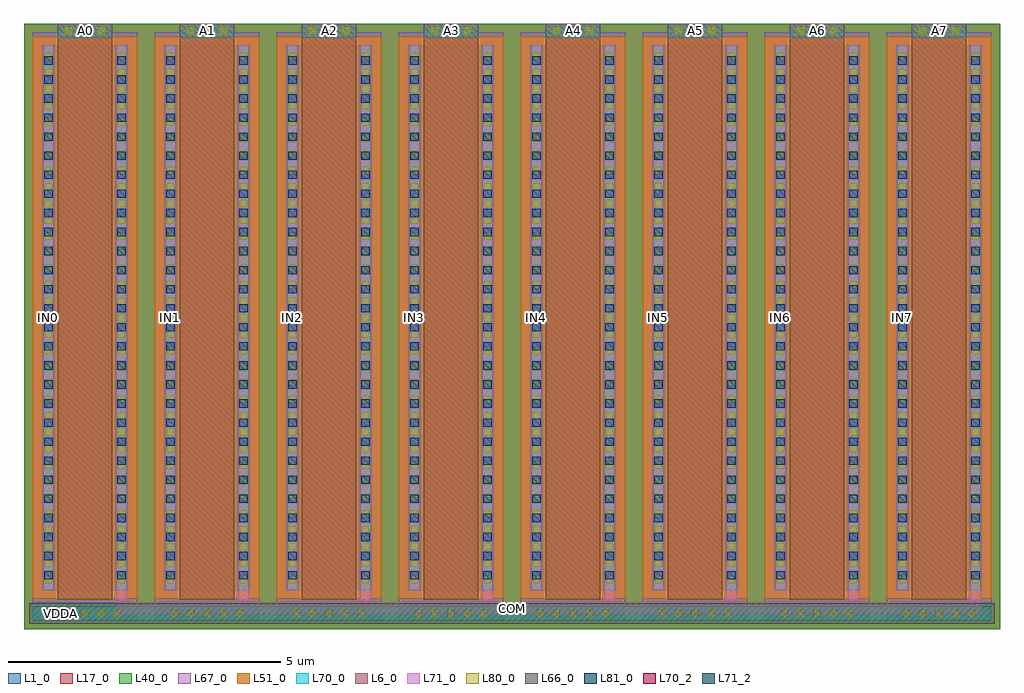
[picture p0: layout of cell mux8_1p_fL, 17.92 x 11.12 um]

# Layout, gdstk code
import gdstk
lib = gdstk.Library(unit=1e-6, precision=1e-09)
def R(c, l, rs):  # rectangles x0, y0, x1, y1
    for r in rs: c.add(gdstk.rectangle(r[:2], r[2:], *l))
def A(c, l, x, y, w, h, nx, ny, dx, dy):  # array of equal rectangles
    R(c, l, [(x+i*dx, y+j*dy, x+i*dx+w, y+j*dy+h) for i in range(nx) for j in range(ny)])
L1_0 = (1, 0)
L6_0 = (6, 0)
L17_0 = (17, 0)
L40_0 = (40, 0)
L51_0 = (51, 0)
L66_0 = (66, 0)
L67_0 = (67, 0)
L70_0 = (70, 0)
L70_2 = (70, 2)
L71_0 = (71, 0)
L71_2 = (71, 2)
L80_0 = (80, 0)
L81_0 = (81, 0)

contact_cdns_78239765426 = lib.new_cell('Contact_CDNS_782397654261')
R(contact_cdns_78239765426, L1_0, [(0,-0.13,0.15,9.87)])
R(contact_cdns_78239765426, L70_0, [(0,-0.13,0.15,9.87)])
A(contact_cdns_78239765426, L80_0, 0.005, 0, 0.14, 0.14, 1, 33, 0, 0.3)

c_contact_cdns_78239765426 = lib.new_cell('Contact_CDNS_782397654262')
R(c_contact_cdns_78239765426, L70_0, [(0,-0.14,0.21,9.86)])
R(c_contact_cdns_78239765426, L71_0, [(0.005,-0.14,0.205,9.86)])
A(c_contact_cdns_78239765426, L81_0, 0.03, 0.06, 0.15, 0.15, 1, 28, 0, 0.35)

c_contact_cdns_78239765426_ = lib.new_cell('Contact_CDNS_782397654263')
R(c_contact_cdns_78239765426_, L6_0, [(-0.07,0,0.93,0.26)])
R(c_contact_cdns_78239765426_, L70_0, [(-0.07,0,0.93,0.26)])
A(c_contact_cdns_78239765426_, L80_0, 0.06, 0.06, 0.14, 0.14, 3, 1, 0.3, 0)

abutcontact_cdns_7823976 = lib.new_cell('AbutContact_CDNS_782397654264')
R(abutcontact_cdns_7823976, L1_0, [(-0.13,0,1.79,0.26)])
R(abutcontact_cdns_7823976, L66_0, [(-0.19,-0.06,1.85,0.32)])
R(abutcontact_cdns_7823976, L70_0, [(-0.13,0,1.79,0.26)])
A(abutcontact_cdns_7823976, L80_0, 0.16, 0.06, 0.14, 0.14, 5, 1, 0.3, 0)

pmos1v2hvt_4_cdns_782397 = lib.new_cell('pmos1v2hvt_4_CDNS_782397654260')
R(pmos1v2hvt_4_cdns_782397, L1_0, [(-0.3,0,0,10), (-0.3,0,1.3,10), (0,0,1,10), (1,0,1.3,10)])
R(pmos1v2hvt_4_cdns_782397, L6_0, [(0,-0.18,1,0), (0,0,1,10), (0,10,1,10.18), (0,10.14,1,10.4), (0,10.14,1,10.4)])
R(pmos1v2hvt_4_cdns_782397, L17_0, [(-0.62,-0.72,1.62,10.4)])
R(pmos1v2hvt_4_cdns_782397, L40_0, [(-0.62,-0.72,1.62,10.4)])
R(pmos1v2hvt_4_cdns_782397, L51_0, [(-0.46,-0.16,1.46,10.16)])
R(pmos1v2hvt_4_cdns_782397, L67_0, [(-0.46,-0.24,1.46,10.24)])
R(pmos1v2hvt_4_cdns_782397, L70_0, [(-0.46,-0.56,1.46,-0.3), (-0.275,0,-0.065,10), (1.065,0,1.275,10), (0,10.14,1,10.4)])
R(pmos1v2hvt_4_cdns_782397, L71_0, [(-0.27,0,-0.07,10), (1.07,0,1.27,10)])
pmos1v2hvt_4_cdns_782397.add(gdstk.Reference(contact_cdns_78239765426, (1.095,0.13)))
pmos1v2hvt_4_cdns_782397.add(gdstk.Reference(contact_cdns_78239765426, (-0.245,0.13)))
pmos1v2hvt_4_cdns_782397.add(gdstk.Reference(c_contact_cdns_78239765426, (1.065,0.14)))
pmos1v2hvt_4_cdns_782397.add(gdstk.Reference(c_contact_cdns_78239765426, (-0.275,0.14)))
pmos1v2hvt_4_cdns_782397.add(gdstk.Reference(c_contact_cdns_78239765426_, (0.07,10.14)))
pmos1v2hvt_4_cdns_782397.add(gdstk.Reference(abutcontact_cdns_7823976, (-0.33,-0.56)))

mux8_1p_fl = lib.new_cell('mux8_1p_fL')
R(mux8_1p_fl, L66_0, [(2.295,0.32,16.11,0.7)])
R(mux8_1p_fl, L70_0, [(2.13,0.38,16.245,0.64)])
A(mux8_1p_fl, L70_2, 1.25, 11.135, 0.15, 0.15, 8, 1, 2.24, 0)
R(mux8_1p_fl, L70_2, [(0.8,0.43,0.95,0.58)])
A(mux8_1p_fl, L71_2, 0.58, 5.865, 0.15, 0.15, 8, 1, 2.24, 0)
R(mux8_1p_fl, L71_2, [(9.09,0.53,9.24,0.68)])
mux8_1p_fl.add(gdstk.FlexPath([(1.995,0.605),(4.235,0.605)], 0.2, ends="extended", simple_path=True, layer=71, datatype=0))  # L71_0
mux8_1p_fl.add(gdstk.FlexPath([(4.235,10.94),(4.235,0.605)], 0.2, ends=(0, 0.1), simple_path=True, layer=71, datatype=0))  # L71_0
mux8_1p_fl.add(gdstk.FlexPath([(4.235,0.605),(6.475,0.605)], 0.2, ends="extended", simple_path=True, layer=71, datatype=0))  # L71_0
mux8_1p_fl.add(gdstk.FlexPath([(6.475,10.94),(6.475,0.605)], 0.2, ends=(0, 0.1), simple_path=True, layer=71, datatype=0))  # L71_0
mux8_1p_fl.add(gdstk.FlexPath([(6.475,0.605),(8.715,0.605)], 0.2, ends="extended", simple_path=True, layer=71, datatype=0))  # L71_0
mux8_1p_fl.add(gdstk.FlexPath([(8.715,10.94),(8.715,0.605)], 0.2, ends=(0, 0.1), simple_path=True, layer=71, datatype=0))  # L71_0
mux8_1p_fl.add(gdstk.FlexPath([(8.715,0.605),(10.955,0.605)], 0.2, ends="extended", simple_path=True, layer=71, datatype=0))  # L71_0
mux8_1p_fl.add(gdstk.FlexPath([(10.955,10.94),(10.955,0.605)], 0.2, ends=(0, 0.1), simple_path=True, layer=71, datatype=0))  # L71_0
mux8_1p_fl.add(gdstk.FlexPath([(10.955,0.605),(13.195,0.605)], 0.2, ends="extended", simple_path=True, layer=71, datatype=0))  # L71_0
mux8_1p_fl.add(gdstk.FlexPath([(13.195,10.94),(13.195,0.605)], 0.2, ends=(0, 0.1), simple_path=True, layer=71, datatype=0))  # L71_0
mux8_1p_fl.add(gdstk.FlexPath([(13.195,0.605),(15.435,0.605)], 0.2, ends="extended", simple_path=True, layer=71, datatype=0))  # L71_0
mux8_1p_fl.add(gdstk.FlexPath([(15.435,10.94),(15.435,0.605)], 0.2, ends=(0, 0.1), simple_path=True, layer=71, datatype=0))  # L71_0
mux8_1p_fl.add(gdstk.FlexPath([(17.675,0.605),(17.675,10.94)], 0.2, ends=(0.1, 0), simple_path=True, layer=71, datatype=0))  # L71_0
mux8_1p_fl.add(gdstk.FlexPath([(15.435,0.605),(17.675,0.605)], 0.2, ends="extended", simple_path=True, layer=71, datatype=0))  # L71_0
mux8_1p_fl.add(gdstk.FlexPath([(1.995,10.94),(1.995,0.605)], 0.2, ends=(0, 0.1), simple_path=True, layer=71, datatype=0))  # L71_0
mux8_1p_fl.add(gdstk.Reference(pmos1v2hvt_4_cdns_782397, (12.025,0.94)))
mux8_1p_fl.add(gdstk.Reference(pmos1v2hvt_4_cdns_782397, (9.785,0.94)))
mux8_1p_fl.add(gdstk.Reference(pmos1v2hvt_4_cdns_782397, (16.505,0.94)))
mux8_1p_fl.add(gdstk.Reference(pmos1v2hvt_4_cdns_782397, (14.265,0.94)))
mux8_1p_fl.add(gdstk.Reference(pmos1v2hvt_4_cdns_782397, (3.065,0.94)))
mux8_1p_fl.add(gdstk.Reference(pmos1v2hvt_4_cdns_782397, (0.825,0.94)))
mux8_1p_fl.add(gdstk.Reference(pmos1v2hvt_4_cdns_782397, (7.545,0.94)))
mux8_1p_fl.add(gdstk.Reference(pmos1v2hvt_4_cdns_782397, (5.305,0.94)))
mux8_1p_fl.add(gdstk.Label('VDDA', (0.875,0.505), layer=70, texttype=2))
mux8_1p_fl.add(gdstk.Label('A7', (17.005,11.21), layer=70, texttype=2))
mux8_1p_fl.add(gdstk.Label('A6', (14.765,11.21), layer=70, texttype=2))
mux8_1p_fl.add(gdstk.Label('A5', (12.525,11.21), layer=70, texttype=2))
mux8_1p_fl.add(gdstk.Label('A4', (10.285,11.21), layer=70, texttype=2))
mux8_1p_fl.add(gdstk.Label('A3', (8.045,11.21), layer=70, texttype=2))
mux8_1p_fl.add(gdstk.Label('A2', (5.805,11.21), layer=70, texttype=2))
mux8_1p_fl.add(gdstk.Label('A1', (3.565,11.21), layer=70, texttype=2))
mux8_1p_fl.add(gdstk.Label('A0', (1.325,11.21), layer=70, texttype=2))
mux8_1p_fl.add(gdstk.Label('COM', (9.165,0.605), layer=71, texttype=2))
mux8_1p_fl.add(gdstk.Label('IN7', (16.335,5.94), layer=71, texttype=2))
mux8_1p_fl.add(gdstk.Label('IN6', (14.095,5.94), layer=71, texttype=2))
mux8_1p_fl.add(gdstk.Label('IN5', (11.855,5.94), layer=71, texttype=2))
mux8_1p_fl.add(gdstk.Label('IN4', (9.615,5.94), layer=71, texttype=2))
mux8_1p_fl.add(gdstk.Label('IN3', (7.375,5.94), layer=71, texttype=2))
mux8_1p_fl.add(gdstk.Label('IN2', (5.135,5.94), layer=71, texttype=2))
mux8_1p_fl.add(gdstk.Label('IN1', (2.895,5.94), layer=71, texttype=2))
mux8_1p_fl.add(gdstk.Label('IN0', (0.655,5.94), layer=71, texttype=2))

lib.write_gds('mux8_1p_fL.gds')
